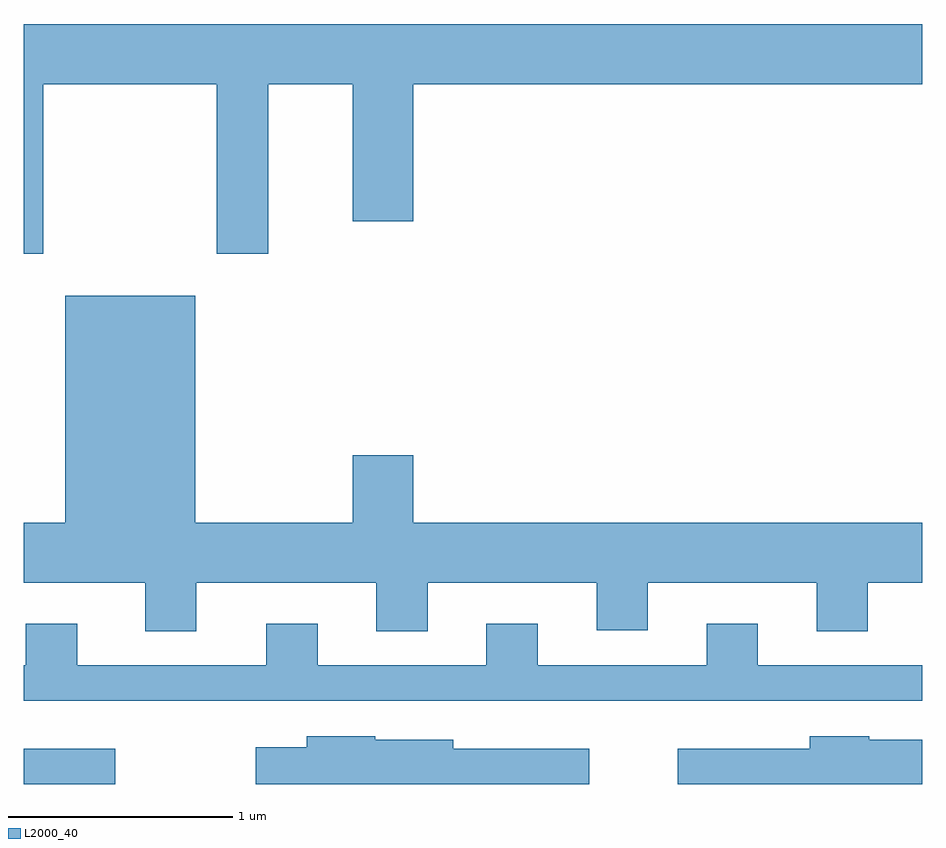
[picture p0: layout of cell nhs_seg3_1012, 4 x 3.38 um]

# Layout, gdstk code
import gdstk
lib = gdstk.Library(unit=1e-6, precision=1e-09)
def R(c, l, rs):  # rectangles x0, y0, x1, y1
    for r in rs: c.add(gdstk.rectangle(r[:2], r[2:], *l))
def P(c, l, *ps):  # polygons
    for p in ps: c.add(gdstk.Polygon(p, *l))
L2000_40 = (2000, 40)

nhs_seg3_1012 = lib.new_cell('nhs_seg3_1012')
R(nhs_seg3_1012, L2000_40, [(213.611,1236.121,214.018,1236.279)])
P(nhs_seg3_1012, L2000_40, [(213.699,1239.236),(214.471,1239.236),(214.471,1238.481),(214.699,1238.481),(214.699,1239.236),(215.076,1239.236),(215.076,1238.626),(215.344,1238.626),(215.344,1239.236),(217.611,1239.236),(217.611,1239.504),(213.611,1239.504),(213.611,1238.481),(213.699,1238.481)],
  [(214.379,1237.016),(215.181,1237.016),(215.181,1236.801),(215.409,1236.801),(215.409,1237.016),(216.161,1237.016),(216.161,1236.806),(216.389,1236.806),(216.389,1237.016),(217.141,1237.016),(217.141,1236.801),(217.369,1236.801),(217.369,1237.016),(217.611,1237.016),(217.611,1237.284),(215.344,1237.284),(215.344,1237.584),(215.076,1237.584),(215.076,1237.284),(214.374,1237.284),(214.374,1238.294),(213.796,1238.294),(213.796,1237.284),(213.611,1237.284),(213.611,1237.016),(214.151,1237.016),(214.151,1236.801),(214.379,1236.801)],
  [(217.611,1236.649),(216.879,1236.649),(216.879,1236.834),(216.651,1236.834),(216.651,1236.649),(215.899,1236.649),(215.899,1236.834),(215.671,1236.834),(215.671,1236.649),(214.919,1236.649),(214.919,1236.834),(214.691,1236.834),(214.691,1236.649),(213.849,1236.649),(213.849,1236.834),(213.621,1236.834),(213.621,1236.649),(213.611,1236.649),(213.611,1236.491),(217.611,1236.491)],
  [(216.128,1236.279),(215.524,1236.279),(215.524,1236.319),(215.175,1236.319),(215.175,1236.334),(214.871,1236.334),(214.871,1236.284),(214.643,1236.284),(214.643,1236.121),(216.128,1236.121)],
  [(217.611,1236.319),(217.375,1236.319),(217.375,1236.334),(217.111,1236.334),(217.111,1236.279),(216.523,1236.279),(216.523,1236.121),(217.611,1236.121)])

lib.write_gds('nhs_seg3_1012.gds')
